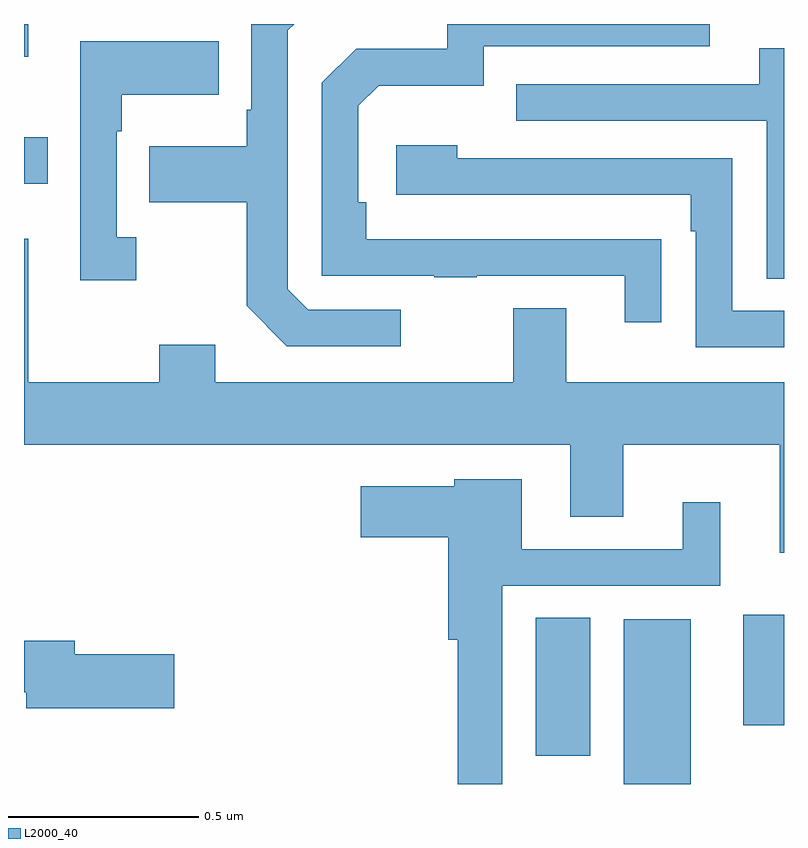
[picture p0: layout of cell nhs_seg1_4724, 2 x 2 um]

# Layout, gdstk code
import gdstk
lib = gdstk.Library(unit=1e-6, precision=1e-09)
def R(c, l, rs):  # rectangles x0, y0, x1, y1
    for r in rs: c.add(gdstk.rectangle(r[:2], r[2:], *l))
def P(c, l, *ps):  # polygons
    for p in ps: c.add(gdstk.Polygon(p, *l))
L2000_40 = (2000, 40)

nhs_seg1_4724 = lib.new_cell('nhs_seg1_4724')
R(nhs_seg1_4724, L2000_40, [(171.578,524.199,171.754,524.632), (171.347,524.274,171.49,524.636), (171.893,524.354,172,524.644), (170,525.779,170.062,525.901), (170,526.113,170.011,526.199)])
P(nhs_seg1_4724, L2000_40, [(171.677,525.632),(171.575,525.632),(171.575,525.633),(170.9,525.633),(170.9,525.73),(170.88,525.73),(170.88,525.984),(170.933,526.037),(171.21,526.037),(171.21,526.14),(171.805,526.14),(171.805,526.199),(171.114,526.199),(171.114,526.134),(170.874,526.134),(170.784,526.044),(170.784,525.537),(171.079,525.537),(171.079,525.532),(171.191,525.532),(171.191,525.537),(171.581,525.537),(171.581,525.414),(171.677,525.414)],
  [(170.992,525.447),(170.748,525.447),(170.694,525.501),(170.694,526.182),(170.711,526.199),(170.598,526.199),(170.598,525.973),(170.586,525.973),(170.586,525.877),(170.329,525.877),(170.329,525.73),(170.586,525.73),(170.586,525.457),(170.691,525.351),(170.992,525.351)],
  [(170.296,525.638),(170.244,525.638),(170.244,525.917),(170.257,525.917),(170.257,526.013),(170.513,526.013),(170.513,526.153),(170.148,526.153),(170.148,525.525),(170.296,525.525)],
  [(172,526.135),(171.935,526.135),(171.935,526.041),(171.295,526.041),(171.295,525.945),(171.954,525.945),(171.954,525.529),(172,525.529)],
  [(172,525.444),(171.864,525.444),(171.864,525.846),(171.14,525.846),(171.14,525.88),(170.979,525.88),(170.979,525.75),(171.755,525.75),(171.755,525.653),(171.768,525.653),(171.768,525.348),(172,525.348)],
  [(172,525.256),(171.427,525.256),(171.427,525.451),(171.287,525.451),(171.287,525.256),(170.503,525.256),(170.503,525.355),(170.356,525.355),(170.356,525.256),(170.011,525.256),(170.011,525.634),(170,525.634),(170,525.092),(171.437,525.092),(171.437,524.902),(171.577,524.902),(171.577,525.092),(171.989,525.092),(171.989,524.808),(172,524.808)],
  [(171.258,524.721),(171.832,524.721),(171.832,524.941),(171.734,524.941),(171.734,524.817),(171.31,524.817),(171.31,525.001),(171.132,525.001),(171.132,524.983),(170.886,524.983),(170.886,524.849),(171.116,524.849),(171.116,524.579),(171.142,524.579),(171.142,524.199),(171.258,524.199)],
  [(170.395,524.54),(170.134,524.54),(170.134,524.576),(170,524.576),(170,524.44),(170.006,524.44),(170.006,524.398),(170.395,524.398)])

lib.write_gds('nhs_seg1_4724.gds')
